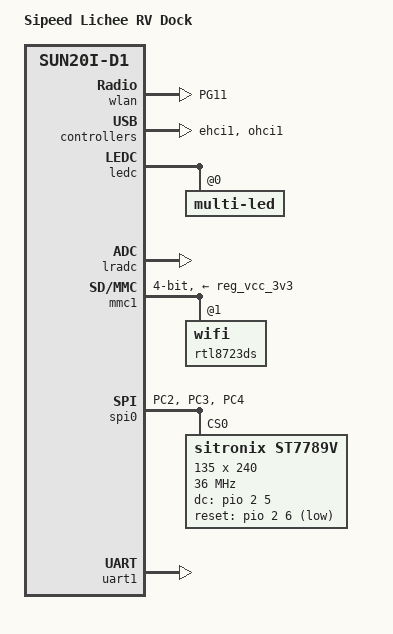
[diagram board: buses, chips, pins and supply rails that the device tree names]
// SPDX-License-Identifier: (GPL-2.0+ or MIT)
// Copyright (C) 2022 Jisheng Zhang <jszhang@kernel.org>
// Copyright (C) 2022 Samuel Holland <samuel@sholland.org>

#include <dt-bindings/input/input.h>

#include "sun20i-d1-lichee-rv.dts"

/ {
	model = "Sipeed Lichee RV Dock";
	compatible = "sipeed,lichee-rv-dock", "sipeed,lichee-rv",
		     "allwinner,sun20i-d1";

	aliases {
		ethernet1 = &rtl8723ds;
	};

/*
	wifi_pwrseq: wifi-pwrseq {
		compatible = "mmc-pwrseq-simple";
		reset-gpios = <&pio 6 12 GPIO_ACTIVE_LOW>; // PG12 //
	};
*/

	rfkill: rfkill@0 {
		compatible    = "allwinner,sunxi-rfkill";
		chip_en;
		power_en;
		status        = "okay";

		wlan: wlan@0 {
			compatible    = "allwinner,sunxi-wlan";
			pinctrl-0 = <&wlan_pins_a>;
			pinctrl-names = "default";
			clock-names = "32k-fanout1";
			clocks = <&ccu CLK_FANOUT1>;
			wlan_busnum    = <0x1>;
			wlan_regon    = <&pio 6 12 GPIO_ACTIVE_HIGH>;
			wlan_hostwake  = <&pio 6 10 GPIO_ACTIVE_HIGH>;
			/*wlan_power    = "VCC-3V3";*/
			/*wlan_power_vol = <3300000>;*/
			/*interrupt-parent = <&pio>;
			interrupts = < 6 10 IRQ_TYPE_LEVEL_HIGH>;*/
			wakeup-source;

		};

		bt: bt@0 {
			compatible    = "allwinner,sunxi-bt";
			pinctrl-0 = <&wlan_pins_a>;
			pinctrl-names = "default";
			clock-names = "32k-fanout1";
			clocks = <&ccu CLK_FANOUT1>;
			/*bt_power_num = <0x01>;*/
			/*bt_power      = "axp803-dldo1";*/
			/*bt_io_regulator = "axp803-dldo1";*/
			/*bt_io_vol = <3300000>;*/
			/*bt_power_vol = <330000>;*/
			bt_rst_n      = <&pio 6 18 GPIO_ACTIVE_LOW>;
			status        = "okay";
		};
	};

	btlpm: btlpm@0 {
		compatible  = "allwinner,sunxi-btlpm";
		uart_index  = <0x1>;
		bt_wake     = <&pio 6 16 GPIO_ACTIVE_HIGH>;
		bt_hostwake = <&pio 6 17 GPIO_ACTIVE_HIGH>;
		status      = "disabled";
	};

	addr_mgt: addr_mgt@0 {
		compatible     = "allwinner,sunxi-addr_mgt";
		type_addr_wifi = <0x0>;
		type_addr_bt   = <0x0>;
		type_addr_eth  = <0x0>;
		status         = "okay";
	};
};

&ehci1 {
	status = "okay";
};

&ledc {
	pinctrl-0 = <&ledc_pc0_pin>;
	pinctrl-names = "default";
	status = "okay";

	multi-led@0 {
		reg = <0x0>;
		color = <LED_COLOR_ID_RGB>;
		function = LED_FUNCTION_STATUS;
		allwinner,multi_intensity = <0 255 0>;
		linux,default-trigger = "mmc0";
	};
};

&lradc {
	status = "okay";

	button-220 {
		label = "OK";
		linux,code = <KEY_OK>;
		channel = <0>;
		voltage = <220000>;
	};
};

&mmc1 {
	bus-width = <4>;
/*
	mmc-pwrseq = <&wifi_pwrseq>;
*/
	no-sd;
	cap-sdio-irq;
	keep-power-in-suspend;
	ignore-pm-notify;
	ctl-spec-caps = <0x8>;

	sunxi-dly-52M-ddr4  = <1 0 0 0 2>;
	sunxi-dly-104M  = <1 0 0 0 1>;
	sunxi-dly-208M  = <1 0 0 0 1>;

/*
	non-removable;
*/
	vmmc-supply = <&reg_vcc_3v3>;
	vqmmc-supply = <&reg_vcc_3v3>;

	pinctrl-0 = <&mmc1_pins>;
	pinctrl-1 = <&sdc1_pins_b>;
	pinctrl-names = "default","sleep";
	status = "okay";

	rtl8723ds: wifi@1 {
		reg = <1>;
	};
};

&ohci1 {
	status = "okay";
};

&pio {
	sdc1_pins_a: sdc1@0 {
		pins = "PG0", "PG1", "PG2",
		       "PG3", "PG4", "PG5";
		function = "mmc1";
		drive-strength = <30>;
		bias-pull-up;
	};

	sdc1_pins_b: sdc1@1 {
		pins = "PG0", "PG1", "PG2",
		       "PG3", "PG4", "PG5";
			function = "gpio_in";
	};

	spi0_3wire_pins: spi0@0 {
		pins = "PC2", "PC3", "PC4"; /*clk cs mosi*/
		function = "spi0";
		muxsel = <2>;
		drive-strength = <10>;
	};

	wlan_pins_a:wlan@0 {
		pins = "PG11";
		function = "clk";
	};
};

&spi0 {
	status = "okay";
	pinctrl-0 = <&spi0_3wire_pins>;
	pinctrl-names = "default";

	st7789v@0 {
		compatible = "sitronix,st7789v";
		reg = <0x00>;
		spi-max-frequency = <36000000>;
		spi-cpol;
		spi-cpha;
		width = <135>;
		height = <240>;
		rotate = <90>;
		fps = <60>;
		buswidth = <8>;
		dc-gpios = <&pio 2 5 GPIO_ACTIVE_HIGH>;
		reset-gpios = <&pio 2 6 GPIO_ACTIVE_LOW>;
		//led-gpios = <&pio 3 18 GPIO_ACTIVE_HIGH>;
		debug = <0>;
		status = "okay";
	};
};

&uart1 {
	uart-has-rtscts;
	pinctrl-0 = <&uart1_pg6_pins>, <&uart1_pg8_rts_cts_pins>;
	pinctrl-names = "default";
	status = "okay";

/*
	bluetooth {
		compatible = "realtek,rtl8723ds-bt";
		device-wake-gpios = <&pio 6 15 GPIO_ACTIVE_HIGH>; // PG16 //
		enable-gpios = <&pio 6 18 GPIO_ACTIVE_HIGH>; // PG18 //
		host-wake-gpios = <&pio 6 17 GPIO_ACTIVE_HIGH>; // PG17 //
	};
*/
};

&usbphy {
	usb1_vbus-supply = <&reg_vcc>;
};
